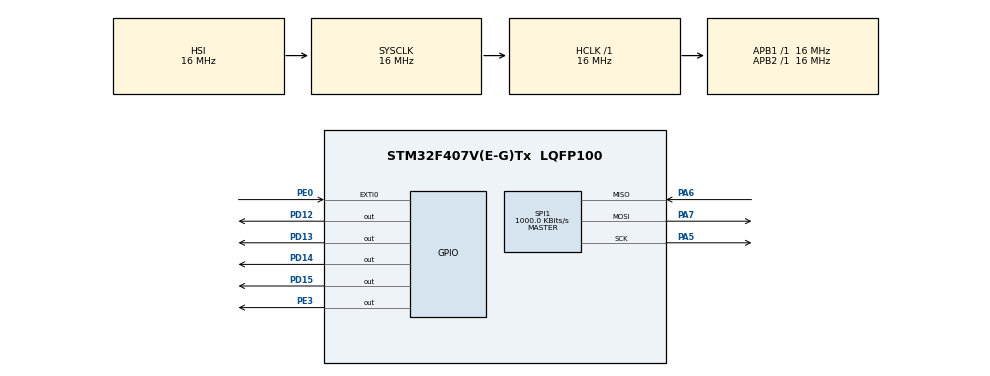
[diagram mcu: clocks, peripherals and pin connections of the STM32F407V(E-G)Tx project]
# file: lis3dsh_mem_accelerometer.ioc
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Dma.Request0=SPI1_RX
Dma.SPI1_RX.0.Direction=DMA_PERIPH_TO_MEMORY
Dma.SPI1_RX.0.FIFOMode=DMA_FIFOMODE_DISABLE
Dma.SPI1_RX.0.Instance=DMA2_Stream0
Dma.SPI1_RX.0.MemDataAlignment=DMA_MDATAALIGN_BYTE
Dma.SPI1_RX.0.MemInc=DMA_MINC_ENABLE
Dma.SPI1_RX.0.Mode=DMA_CIRCULAR
Dma.SPI1_RX.0.PeriphDataAlignment=DMA_PDATAALIGN_BYTE
Dma.SPI1_RX.0.PeriphInc=DMA_PINC_DISABLE
Dma.SPI1_RX.0.Priority=DMA_PRIORITY_LOW
Mcu.Family=STM32F4
Mcu.Name=STM32F407V(E-G)Tx
Mcu.Package=LQFP100
NVIC.DMA2_Stream0_IRQn=true\:0\:0\:false\:false\:true\:false\:true
NVIC.EXTI0_IRQn=true\:3\:0\:true\:false\:true\:true\:true
NVIC.PriorityGroup=NVIC_PRIORITYGROUP_4
PA5.Mode=Full_Duplex_Master
PA5.Signal=SPI1_SCK
PA6.Mode=Full_Duplex_Master
PA6.Signal=SPI1_MISO
PA7.Mode=Full_Duplex_Master
PA7.Signal=SPI1_MOSI
PD12.Signal=GPIO_Output
PD13.Signal=GPIO_Output
PD14.Signal=GPIO_Output
PD15.Signal=GPIO_Output
PE0.Signal=GPXTI0
PE3.Signal=GPIO_Output
ProjectManager.HeapSize=0x200
ProjectManager.StackSize=0x400
ProjectManager.TargetToolchain=STM32CubeIDE
RCC.AHBFreq_Value=16000000
RCC.APB1Freq_Value=16000000
RCC.APB2Freq_Value=16000000
RCC.CortexFreq_Value=16000000
RCC.HSE_VALUE=25000000
RCC.HSI_VALUE=16000000
RCC.LSE_VALUE=32768
RCC.SYSCLKFreq_VALUE=16000000
RCC.VCOOutputFreq_Value=192000000
SPI1.BaudRatePrescaler=SPI_BAUDRATEPRESCALER_16
SPI1.CalculateBaudRate=1000.0 KBits/s
SPI1.Direction=SPI_DIRECTION_2LINES
SPI1.Mode=SPI_MODE_MASTER
SPI1.VirtualType=VM_MASTER
board=custom

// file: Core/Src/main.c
/* USER CODE BEGIN Header */
/**
  ******************************************************************************
  * @file           : main.c
  * @brief          : Main program body
  ******************************************************************************
  * @attention
  *
  * <h2><center>&copy; Copyright (c) 2021 STMicroelectronics.
  * All rights reserved.</center></h2>
  *
  * This software component is licensed by ST under BSD 3-Clause license,
  * the "License"; You may not use this file except in compliance with the
  * License. You may obtain a copy of the License at:
  *                        opensource.org/licenses/BSD-3-Clause
  *
  ******************************************************************************
  */
/* USER CODE END Header */

#include "main.h"
#include "dma.h"
#include "spi.h"
#include "gpio.h"

/* USER CODE BEGIN Includes */
#include <stdio.h>
#include <stdlib.h>
#include <string.h>
/* USER CODE END Includes */

/* USER CODE BEGIN PTD */
typedef struct
{
  int16_t x_raw;
  int16_t y_raw;
  int16_t z_raw;
}RawDataValues;

typedef struct
{
  float x_raw;
  float y_raw;
  float z_raw;

}mGVibrationsTypeDef;

RawDataValues raw_data;
mGVibrationsTypeDef mG_data;
/* USER CODE END PTD */

/* USER CODE BEGIN PD */
#define __LIS_CS_EN     HAL_GPIO_WritePin(GPIOE, GPIO_PIN_3, RESET);
#define __LIS_CS_DIS    HAL_GPIO_WritePin(GPIOE, GPIO_PIN_3, SET);

#define REG_SET_SUCCESSFULL     1U
#define REG_SET_FAIL            0U

#define SWITCH_RED_LED_ON           HAL_GPIO_WritePin(GPIOD, GPIO_PIN_14, SET);
#define TOGGLE_RED_LED              HAL_GPIO_TogglePin(GPIOD, GPIO_PIN_14);

#define SWITCH_GREEN_LED_ON         HAL_GPIO_WritePin(GPIOD, GPIO_PIN_12, SET);
#define SWITCH_GREEN_LED_OFF        HAL_GPIO_WritePin(GPIOD, GPIO_PIN_12, RESET);
/* USER CODE END PD */

/* USER CODE BEGIN PM */
const uint8_t REG3_ADDR = 0x23;     // for interrupt
const uint8_t REG4_ADDR = 0x20;
const uint8_t REG5_ADDR = 0x24;

const uint8_t REG3_DATA = 0x88;     //for interrupt
const uint8_t REG4_DATA = 0x67;
const uint8_t REG5_DATA = 0x68;

const uint8_t OUT_X_L_ADDR = 0x28;
const uint8_t OUT_X_H_ADDR = 0x29;

const uint8_t OUT_Y_L_ADDR = 0x2A;
const uint8_t OUT_Y_H_ADDR = 0x2B;

const uint8_t OUT_Z_L_ADDR = 0x2C;
const uint8_t OUT_Z_H_ADDR = 0x2D;

uint16_t full_value;
int dx = 0U;
/* USER CODE END PM */

void SystemClock_Config(void);
/* USER CODE BEGIN PFP */
int LIS_Write(uint8_t addr, uint8_t data);
uint16_t LIS_Read_Raw_Data(uint8_t addr_low, uint8_t addr_high);
void LIS_Init(void);
/* USER CODE END PFP */

int main(void)
{

  /* MCU Configuration--------------------------------------------------------*/

  /* Reset of all peripherals, Initializes the Flash interface and the Systick. */
  HAL_Init();

  /* Configure the system clock */
  SystemClock_Config();

  /* Initialize all configured peripherals */
  MX_GPIO_Init();
  MX_DMA_Init();
  MX_SPI1_Init();
  /* USER CODE BEGIN 2 */
  __LIS_CS_DIS;

  // Configuring the LIS with our configurations

  LIS_Init();

  /* USER CODE END 2 */

  /* Infinite loop */
  while (1)
  {

    /* USER CODE BEGIN 3 */

    if (dx == 1)
    {
        dx = 0;
        raw_data.x_raw = LIS_Read_Raw_Data(OUT_X_L_ADDR, OUT_X_H_ADDR);
        raw_data.y_raw = LIS_Read_Raw_Data(OUT_Y_L_ADDR, OUT_Y_H_ADDR);
        raw_data.z_raw = LIS_Read_Raw_Data(OUT_Z_L_ADDR, OUT_Z_H_ADDR);

        /* this is not needed for the PCA trainning... */
        mG_data.x_raw  = raw_data.x_raw *  0.122;
        mG_data.y_raw  = raw_data.y_raw *  0.122;
        mG_data.z_raw  = raw_data.z_raw *  0.122;
    }

  }
  /* USER CODE END 3 */
}

void SystemClock_Config(void)
{
  RCC_OscInitTypeDef RCC_OscInitStruct = {0};
  RCC_ClkInitTypeDef RCC_ClkInitStruct = {0};

  /** Configure the main internal regulator output voltage
  */
  __HAL_RCC_PWR_CLK_ENABLE();
  __HAL_PWR_VOLTAGESCALING_CONFIG(PWR_REGULATOR_VOLTAGE_SCALE1);
  /** Initializes the CPU, AHB and APB busses clocks
  */
  RCC_OscInitStruct.OscillatorType = RCC_OSCILLATORTYPE_HSI;
  RCC_OscInitStruct.HSIState = RCC_HSI_ON;
  RCC_OscInitStruct.HSICalibrationValue = RCC_HSICALIBRATION_DEFAULT;
  RCC_OscInitStruct.PLL.PLLState = RCC_PLL_NONE;
  if (HAL_RCC_OscConfig(&RCC_OscInitStruct) != HAL_OK)
  {
    Error_Handler();
  }
  /** Initializes the CPU, AHB and APB busses clocks
  */
  RCC_ClkInitStruct.ClockType = RCC_CLOCKTYPE_HCLK|RCC_CLOCKTYPE_SYSCLK
                              |RCC_CLOCKTYPE_PCLK1|RCC_CLOCKTYPE_PCLK2;
  RCC_ClkInitStruct.SYSCLKSource = RCC_SYSCLKSOURCE_HSI;
  RCC_ClkInitStruct.AHBCLKDivider = RCC_SYSCLK_DIV1;
  RCC_ClkInitStruct.APB1CLKDivider = RCC_HCLK_DIV1;
  RCC_ClkInitStruct.APB2CLKDivider = RCC_HCLK_DIV1;

  if (HAL_RCC_ClockConfig(&RCC_ClkInitStruct, FLASH_LATENCY_0) != HAL_OK)
  {
    Error_Handler();
  }
}

/* USER CODE BEGIN 4 */
int LIS_Write(uint8_t addr, uint8_t data)
{
    uint8_t rx_buf[1];
    uint8_t tx_buf[2];
    __LIS_CS_EN;
    tx_buf[0] = addr; 		// for Write
    tx_buf[1] = data;
    HAL_SPI_Transmit(&hspi1, (uint8_t *)&tx_buf[0], 1, 100);
    HAL_SPI_Transmit(&hspi1, (uint8_t *)&tx_buf[1], 1, 100);
    __LIS_CS_DIS;

    __LIS_CS_EN;
    tx_buf[0] = addr | 0x80;  // for read
    HAL_SPI_Transmit(&hspi1, (uint8_t *)&tx_buf[0], 1, 100);
    HAL_SPI_Receive(&hspi1, (uint8_t *)&rx_buf[0], 1, 100);
    __LIS_CS_DIS;

    if (rx_buf[0] == data)         return REG_SET_SUCCESSFULL;
    else                           return REG_SET_FAIL;
}

uint16_t LIS_Read_Raw_Data(uint8_t addr_low, uint8_t addr_high)
{
    uint8_t tx_buff;
    uint8_t raw_data_high;
    uint8_t raw_data_low;

    __LIS_CS_EN;
    tx_buff = addr_high | 0x80 ;
    HAL_SPI_Transmit(&hspi1, (uint8_t *)&tx_buff, 1, 100);
    HAL_SPI_Receive(&hspi1, (uint8_t *)&raw_data_high, 1, 100);
    __LIS_CS_DIS;

    __LIS_CS_EN;
    tx_buff = addr_high | 0x80;
    HAL_SPI_Transmit(&hspi1, (uint8_t *)&tx_buff, 1, 100);
    HAL_SPI_Receive(&hspi1, (uint8_t *)&raw_data_low, 1, 100);
    __LIS_CS_DIS;

    return  (raw_data_low | raw_data_high<<8) ;

}

void LIS_Init(void)
{

  int status;
  status = LIS_Write(REG3_ADDR, REG3_DATA);

  if (status == REG_SET_FAIL)
  {
          while (1)
              {
                        TOGGLE_RED_LED;
                        SWITCH_GREEN_LED_OFF;
                        HAL_Delay(300);
              }
  }
  status = LIS_Write(REG4_ADDR, REG4_DATA);
  if (status == REG_SET_FAIL)
  {
          while (1)
              {
                        TOGGLE_RED_LED;
                        SWITCH_GREEN_LED_OFF;
                        HAL_Delay(300);
              }
  }
  status = LIS_Write(REG5_ADDR, REG5_DATA);
  if (status == REG_SET_FAIL)
  {
          while (1)
              {
                        TOGGLE_RED_LED;
                        SWITCH_GREEN_LED_OFF;
                        HAL_Delay(300);
              }
  }
  if (status == REG_SET_SUCCESSFULL)    SWITCH_GREEN_LED_ON;
}

void HAL_GPIO_EXTI_Callback(uint16_t GPIO_Pin)
{
  /* Prevent unused argument(s) compilation warning */
 // UNUSED(GPIO_Pin);
  /* NOTE: This function Should not be modified, when the callback is needed,
           the HAL_GPIO_EXTI_Callback could be implemented in the user file
   */

  	  	  	  dx =1;

 }

/* USER CODE END 4 */

void Error_Handler(void)
{
}

/************************ (C) COPYRIGHT STMicroelectronics *****END OF FILE****/
